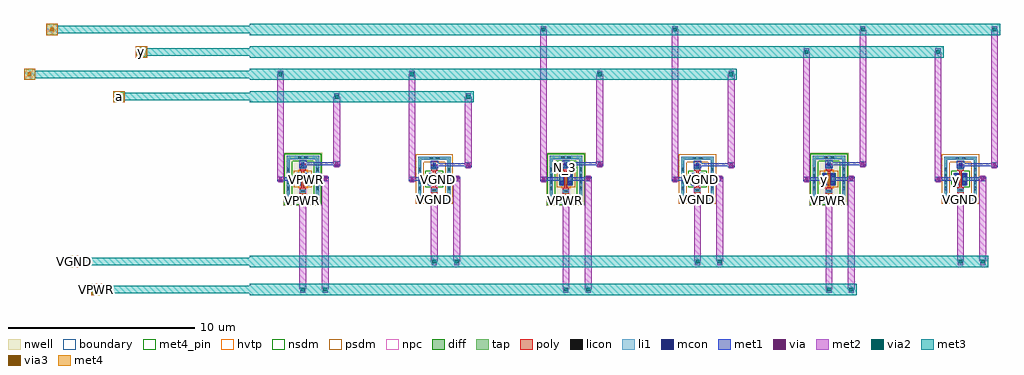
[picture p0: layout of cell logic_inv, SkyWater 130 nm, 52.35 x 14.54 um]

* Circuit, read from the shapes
.subckt logic_inv N_3 OUT_y_0__N VGND VPWR a y
XM1 VGND a N_3 VGND sky130_fd_pr__nfet_01v8 w=0.65 l=0.15
XM2 VGND N_3 OUT_y_0__N VGND sky130_fd_pr__nfet_01v8 w=0.65 l=0.15
XM3 VGND OUT_y_0__N y VGND sky130_fd_pr__nfet_01v8 w=0.65 l=0.15
XM4 VPWR a N_3 VPWR sky130_fd_pr__pfet_01v8_hvt w=0.65 l=0.15
XM5 VPWR N_3 OUT_y_0__N VPWR sky130_fd_pr__pfet_01v8_hvt w=0.65 l=0.15
XM6 VPWR OUT_y_0__N y VPWR sky130_fd_pr__pfet_01v8_hvt w=0.65 l=0.15
.ends

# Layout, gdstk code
import gdstk
lib = gdstk.Library(unit=1e-6, precision=1e-09)
def R(c, l, rs):  # rectangles x0, y0, x1, y1
    for r in rs: c.add(gdstk.rectangle(r[:2], r[2:], *l))
def A(c, l, x, y, w, h, nx, ny, dx, dy):  # array of equal rectangles
    R(c, l, [(x+i*dx, y+j*dy, x+i*dx+w, y+j*dy+h) for i in range(nx) for j in range(ny)])
def P(c, l, *ps):  # polygons
    for p in ps: c.add(gdstk.Polygon(p, *l))
nwell = (64, 20)
diff = (65, 20)
tap = (65, 44)
poly = (66, 20)
licon = (66, 44)
li1 = (67, 20)
mcon = (67, 44)
met1 = (68, 20)
via = (68, 44)
met2 = (69, 20)
via2 = (69, 44)
met3 = (70, 20)
via3 = (70, 44)
met4_pin = (71, 16)
met4 = (71, 20)
hvtp = (78, 44)
nsdm = (93, 44)
psdm = (94, 20)
npc = (95, 20)
boundary = (235, 4)

logic_inv = lib.new_cell('logic_inv')
A(logic_inv, nwell, 24.2, 14.8, 2.11, 2.84, 3, 1, 14.11, 0)
A(logic_inv, diff, 24.89, 15.895, 0.73, 0.65, 6, 1, 7.055, 0)
A(logic_inv, tap, 24.38, 14.98, 1.75, 0.17, 3, 2, 14.11, 2.31)
A(logic_inv, tap, 31.435, 15.025, 1.75, 0.17, 3, 2, 14.11, 2.22)
R(logic_inv, tap, [(24.38,15.15,24.55,17.29), (25.96,15.15,26.13,17.29), (38.49,15.15,38.66,17.29), (40.07,15.15,40.24,17.29), (52.6,15.15,52.77,17.29), (54.18,15.15,54.35,17.29), (31.435,15.195,31.605,17.245), (33.015,15.195,33.185,17.245), (45.545,15.195,45.715,17.245), (47.125,15.195,47.295,17.245), (59.655,15.195,59.825,17.245), (61.235,15.195,61.405,17.245)])
A(logic_inv, poly, 25.09, 15.41, 0.33, 0.33, 3, 2, 14.11, 1.29)
A(logic_inv, poly, 32.145, 15.455, 0.33, 0.33, 3, 2, 14.11, 1.2)
A(logic_inv, poly, 25.18, 15.74, 0.15, 0.96, 3, 1, 14.11, 0)
A(logic_inv, poly, 32.235, 15.785, 0.15, 0.87, 3, 1, 14.11, 0)
A(logic_inv, licon, 25.17, 15.49, 0.17, 0.17, 3, 2, 14.11, 1.29)
A(logic_inv, licon, 32.225, 15.535, 0.17, 0.17, 3, 2, 14.11, 1.2)
A(logic_inv, licon, 24.38, 15.625, 0.17, 0.17, 1, 4, 0, 0.34)
A(logic_inv, licon, 25.96, 15.625, 0.17, 0.17, 1, 4, 0, 0.34)
A(logic_inv, licon, 31.435, 15.625, 0.17, 0.17, 1, 4, 0, 0.34)
A(logic_inv, licon, 33.015, 15.625, 0.17, 0.17, 1, 4, 0, 0.34)
A(logic_inv, licon, 38.49, 15.625, 0.17, 0.17, 1, 4, 0, 0.34)
A(logic_inv, licon, 40.07, 15.625, 0.17, 0.17, 1, 4, 0, 0.34)
A(logic_inv, licon, 45.545, 15.625, 0.17, 0.17, 1, 4, 0, 0.34)
A(logic_inv, licon, 47.125, 15.625, 0.17, 0.17, 1, 4, 0, 0.34)
A(logic_inv, licon, 52.6, 15.625, 0.17, 0.17, 1, 4, 0, 0.34)
A(logic_inv, licon, 54.18, 15.625, 0.17, 0.17, 1, 4, 0, 0.34)
A(logic_inv, licon, 59.655, 15.625, 0.17, 0.17, 1, 4, 0, 0.34)
A(logic_inv, licon, 61.235, 15.625, 0.17, 0.17, 1, 4, 0, 0.34)
R(logic_inv, licon, [(25,14.98,25.17,15.15), (25.34,14.98,25.51,15.15), (39.11,14.98,39.28,15.15), (39.45,14.98,39.62,15.15), (53.22,14.98,53.39,15.15), (53.56,14.98,53.73,15.15), (32.055,15.025,32.225,15.195), (32.395,15.025,32.565,15.195), (46.165,15.025,46.335,15.195), (46.505,15.025,46.675,15.195), (60.275,15.025,60.445,15.195), (60.615,15.025,60.785,15.195), (24.95,15.965,25.12,16.135), (25.39,15.965,25.56,16.135), (32.005,15.965,32.175,16.135), (32.445,15.965,32.615,16.135), (39.06,15.965,39.23,16.135), (39.5,15.965,39.67,16.135), (46.115,15.965,46.285,16.135), (46.555,15.965,46.725,16.135), (53.17,15.965,53.34,16.135), (53.61,15.965,53.78,16.135), (60.225,15.965,60.395,16.135), (60.665,15.965,60.835,16.135), (24.95,16.305,25.12,16.475), (25.39,16.305,25.56,16.475), (32.005,16.305,32.175,16.475), (32.445,16.305,32.615,16.475), (39.06,16.305,39.23,16.475), (39.5,16.305,39.67,16.475), (46.115,16.305,46.285,16.475), (46.555,16.305,46.725,16.475), (53.17,16.305,53.34,16.475), (53.61,16.305,53.78,16.475), (60.225,16.305,60.395,16.475), (60.665,16.305,60.835,16.475), (32.055,17.245,32.225,17.415), (32.395,17.245,32.565,17.415), (46.165,17.245,46.335,17.415), (46.505,17.245,46.675,17.415), (60.275,17.245,60.445,17.415), (60.615,17.245,60.785,17.415), (25,17.29,25.17,17.46), (25.34,17.29,25.51,17.46), (39.11,17.29,39.28,17.46), (39.45,17.29,39.62,17.46), (53.22,17.29,53.39,17.46), (53.56,17.29,53.73,17.46)])
A(logic_inv, li1, 24.38, 14.98, 1.75, 0.17, 3, 2, 14.11, 2.31)
A(logic_inv, li1, 31.435, 15.025, 1.75, 0.17, 3, 2, 14.11, 2.22)
A(logic_inv, li1, 25.09, 15.49, 0.33, 0.17, 3, 2, 14.11, 1.29)
A(logic_inv, li1, 32.145, 15.535, 0.33, 0.17, 3, 2, 14.11, 1.2)
A(logic_inv, li1, 32.225, 16.735, 0.17, 0.34, 3, 1, 14.11, 0)
A(logic_inv, li1, 25.17, 16.78, 0.17, 0.34, 3, 1, 14.11, 0)
R(logic_inv, li1, [(24.38,15.15,24.55,17.29), (25.96,15.15,26.13,17.29), (38.49,15.15,38.66,17.29), (40.07,15.15,40.24,17.29), (52.6,15.15,52.77,17.29), (54.18,15.15,54.35,17.29), (31.435,15.195,31.605,17.245), (33.015,15.195,33.185,17.245), (45.545,15.195,45.715,17.245), (47.125,15.195,47.295,17.245), (59.655,15.195,59.825,17.245), (61.235,15.195,61.405,17.245), (24.95,15.875,25.12,16.565), (25.39,15.875,25.56,16.565), (32.005,15.875,32.175,16.565), (32.445,15.875,32.615,16.565), (39.06,15.875,39.23,16.565), (39.5,15.875,39.67,16.565), (46.115,15.875,46.285,16.565), (46.555,15.875,46.725,16.565), (53.17,15.875,53.34,16.565), (53.61,15.875,53.78,16.565), (60.225,15.875,60.395,16.565), (60.665,15.875,60.835,16.565)])
A(logic_inv, mcon, 25.17, 14.98, 0.17, 0.17, 3, 2, 14.11, 1.97)
A(logic_inv, mcon, 32.225, 15.025, 0.17, 0.17, 3, 2, 14.11, 1.88)
R(logic_inv, mcon, [(24.95,15.955,25.12,16.125), (25.39,15.955,25.56,16.125), (32.005,15.955,32.175,16.125), (32.445,15.955,32.615,16.125), (39.06,15.955,39.23,16.125), (39.5,15.955,39.67,16.125), (46.115,15.955,46.285,16.125), (46.555,15.955,46.725,16.125), (53.17,15.955,53.34,16.125), (53.61,15.955,53.78,16.125), (60.225,15.955,60.395,16.125), (60.665,15.955,60.835,16.125), (24.95,16.315,25.12,16.485), (25.39,16.315,25.56,16.485), (32.005,16.315,32.175,16.485), (32.445,16.315,32.615,16.485), (39.06,16.315,39.23,16.485), (39.5,16.315,39.67,16.485), (46.115,16.315,46.285,16.485), (46.555,16.315,46.725,16.485), (53.17,16.315,53.34,16.485), (53.61,16.315,53.78,16.485), (60.225,16.315,60.395,16.485), (60.665,16.315,60.835,16.485)])
A(logic_inv, met1, 25.055, 14.865, 0.4, 0.4, 3, 2, 14.11, 1.97)
A(logic_inv, met1, 32.11, 14.91, 0.4, 0.4, 3, 2, 14.11, 1.88)
A(logic_inv, met1, 25.075, 14.935, 0.36, 0.26, 3, 1, 14.11, 0)
A(logic_inv, met1, 32.13, 14.98, 0.36, 0.26, 3, 1, 14.11, 0)
A(logic_inv, met1, 33.95, 16.86, 0.36, 0.26, 3, 1, 14.11, 0)
A(logic_inv, met1, 26.895, 16.905, 0.36, 0.26, 3, 1, 14.11, 0)
A(logic_inv, met1, 32.31, 16.905, 1.82, 0.17, 3, 1, 14.11, 0)
A(logic_inv, met1, 25.255, 16.95, 1.82, 0.17, 3, 1, 14.11, 0)
R(logic_inv, met1, [(24.92,15.895,25.15,16.545), (25.36,15.895,25.59,16.545), (31.975,15.895,32.205,16.545), (32.415,15.895,32.645,16.545), (39.03,15.895,39.26,16.545), (39.47,15.895,39.7,16.545), (46.085,15.895,46.315,16.545), (46.525,15.895,46.755,16.545), (53.14,15.895,53.37,16.545), (53.58,15.895,53.81,16.545), (60.195,15.895,60.425,16.545), (60.635,15.895,60.865,16.545), (23.875,16.09,24.235,16.35), (26.275,16.09,26.635,16.35), (30.93,16.09,31.29,16.35), (33.33,16.09,33.69,16.35), (37.985,16.09,38.345,16.35), (40.385,16.09,40.745,16.35), (45.04,16.09,45.4,16.35), (47.44,16.09,47.8,16.35), (52.095,16.09,52.455,16.35), (54.495,16.09,54.855,16.35), (59.15,16.09,59.51,16.35), (61.55,16.09,61.91,16.35), (24.055,16.135,25.035,16.305), (25.475,16.135,26.455,16.305), (31.11,16.135,32.09,16.305), (32.53,16.135,33.51,16.305), (38.165,16.135,39.145,16.305), (39.585,16.135,40.565,16.305), (45.22,16.135,46.2,16.305), (46.64,16.135,47.62,16.305), (52.275,16.135,53.255,16.305), (53.695,16.135,54.675,16.305), (59.33,16.135,60.31,16.305), (60.75,16.135,61.73,16.305)])
P(logic_inv, met1, [(25.255,14.98),(25.255,15.15),(25.255,15.15),(25.255,14.98)],
  [(32.31,15.025),(32.31,15.195),(32.31,15.195),(32.31,15.025)],
  [(60.53,15.025),(60.53,15.195),(60.53,15.195),(60.53,15.025)],
  [(39.365,14.98),(39.365,15.15),(39.365,15.15),(39.365,14.98)],
  [(46.42,15.025),(46.42,15.195),(46.42,15.195),(46.42,15.025)],
  [(53.475,14.98),(53.475,15.15),(53.475,15.15),(53.475,14.98)])
A(logic_inv, via, 25.18, 14.99, 0.15, 0.15, 3, 1, 14.11, 0)
A(logic_inv, via, 32.235, 15.035, 0.15, 0.15, 3, 1, 14.11, 0)
A(logic_inv, via, 34.055, 16.915, 0.15, 0.15, 3, 1, 14.11, 0)
A(logic_inv, via, 27, 16.96, 0.15, 0.15, 3, 1, 14.11, 0)
R(logic_inv, via, [(23.98,16.145,24.13,16.295), (26.38,16.145,26.53,16.295), (31.035,16.145,31.185,16.295), (33.435,16.145,33.585,16.295), (38.09,16.145,38.24,16.295), (40.49,16.145,40.64,16.295), (45.145,16.145,45.295,16.295), (47.545,16.145,47.695,16.295), (52.2,16.145,52.35,16.295), (54.6,16.145,54.75,16.295), (59.255,16.145,59.405,16.295), (61.655,16.145,61.805,16.295)])
A(logic_inv, met2, 25.075, 10.3, 0.36, 4.765, 3, 1, 14.11, 0)
A(logic_inv, met2, 26.275, 10.3, 0.36, 5.92, 3, 1, 14.11, 0)
A(logic_inv, met2, 32.13, 11.8, 0.36, 3.31, 3, 1, 14.11, 0)
A(logic_inv, met2, 33.33, 11.8, 0.36, 4.42, 3, 1, 14.11, 0)
A(logic_inv, met2, 25.125, 14.885, 0.26, 0.36, 3, 1, 14.11, 0)
A(logic_inv, met2, 32.18, 14.93, 0.26, 0.36, 3, 1, 14.11, 0)
A(logic_inv, met2, 34, 16.81, 0.26, 0.36, 3, 1, 14.11, 0)
A(logic_inv, met2, 26.945, 16.855, 0.26, 0.36, 3, 1, 14.11, 0)
R(logic_inv, met2, [(25.115,10.11,25.395,10.49), (26.315,10.11,26.595,10.49), (39.225,10.11,39.505,10.49), (40.425,10.11,40.705,10.49), (53.335,10.11,53.615,10.49), (54.535,10.11,54.815,10.49), (32.17,11.61,32.45,11.99), (33.37,11.61,33.65,11.99), (46.28,11.61,46.56,11.99), (47.48,11.61,47.76,11.99), (60.39,11.61,60.67,11.99), (61.59,11.61,61.87,11.99), (23.925,16.04,24.185,16.4), (26.325,16.04,26.585,16.4), (30.98,16.04,31.24,16.4), (33.38,16.04,33.64,16.4), (38.035,16.04,38.295,16.4), (40.435,16.04,40.695,16.4), (45.09,16.04,45.35,16.4), (47.49,16.04,47.75,16.4), (52.145,16.04,52.405,16.4), (54.545,16.04,54.805,16.4), (59.2,16.04,59.46,16.4), (61.6,16.04,61.86,16.4), (23.875,16.22,24.235,21.84), (30.93,16.22,31.29,21.84), (37.985,16.22,38.345,24.24), (45.04,16.22,45.4,24.24), (52.095,16.22,52.455,23.04), (59.15,16.22,59.51,23.04), (33.95,16.99,34.31,20.64), (48.06,16.99,48.42,21.84), (62.17,16.99,62.53,24.24), (26.895,17.035,27.255,20.64), (41.005,17.035,41.365,21.84), (55.115,17.035,55.475,24.24), (26.935,20.45,27.215,20.83), (33.99,20.45,34.27,20.83), (23.915,21.65,24.195,22.03), (30.97,21.65,31.25,22.03), (41.045,21.65,41.325,22.03), (48.1,21.65,48.38,22.03), (52.135,22.85,52.415,23.23), (59.19,22.85,59.47,23.23), (38.025,24.05,38.305,24.43), (45.08,24.05,45.36,24.43), (55.155,24.05,55.435,24.43), (62.21,24.05,62.49,24.43)])
R(logic_inv, via2, [(25.155,10.2,25.355,10.4), (26.355,10.2,26.555,10.4), (39.265,10.2,39.465,10.4), (40.465,10.2,40.665,10.4), (53.375,10.2,53.575,10.4), (54.575,10.2,54.775,10.4), (32.21,11.7,32.41,11.9), (33.41,11.7,33.61,11.9), (46.32,11.7,46.52,11.9), (47.52,11.7,47.72,11.9), (60.43,11.7,60.63,11.9), (61.63,11.7,61.83,11.9), (26.975,20.54,27.175,20.74), (34.03,20.54,34.23,20.74), (23.955,21.74,24.155,21.94), (31.01,21.74,31.21,21.94), (41.085,21.74,41.285,21.94), (48.14,21.74,48.34,21.94), (52.175,22.94,52.375,23.14), (59.23,22.94,59.43,23.14), (38.065,24.14,38.265,24.34), (45.12,24.14,45.32,24.34), (55.195,24.14,55.395,24.34), (62.25,24.14,62.45,24.34)])
R(logic_inv, met3, [(13.9,10,14.5,10.6), (22.4,10,54.975,10.6), (25.005,10.05,25.505,10.55), (26.205,10.05,26.705,10.55), (39.115,10.05,39.615,10.55), (40.315,10.05,40.815,10.55), (53.225,10.05,53.725,10.55), (54.425,10.05,54.925,10.55), (12.7,11.5,13.3,12.1), (22.4,11.5,62.03,12.1), (32.06,11.55,32.56,12.05), (33.26,11.55,33.76,12.05), (46.17,11.55,46.67,12.05), (47.37,11.55,47.87,12.05), (60.28,11.55,60.78,12.05), (61.48,11.55,61.98,12.05), (15.1,20.34,15.7,20.94), (22.4,20.34,34.43,20.94), (26.825,20.39,27.325,20.89), (33.88,20.39,34.38,20.89), (10.3,21.54,10.9,22.14), (22.4,21.54,48.54,22.14), (23.805,21.59,24.305,22.09), (30.86,21.59,31.36,22.09), (40.935,21.59,41.435,22.09), (47.99,21.59,48.49,22.09), (16.3,22.74,16.9,23.34), (22.4,22.74,59.63,23.34), (52.025,22.79,52.525,23.29), (59.08,22.79,59.58,23.29), (11.5,23.94,12.1,24.54), (22.4,23.94,62.65,24.54), (37.915,23.99,38.415,24.49), (44.97,23.99,45.47,24.49), (55.045,23.99,55.545,24.49), (62.1,23.99,62.6,24.49)])
R(logic_inv, via3, [(14.1,10.2,14.3,10.4), (12.9,11.7,13.1,11.9), (15.3,20.54,15.5,20.74), (10.5,21.74,10.7,21.94), (16.5,22.94,16.7,23.14), (11.7,24.14,11.9,24.34)])
R(logic_inv, met4_pin, [(13.95,10.05,14.45,10.55), (12.75,11.55,13.25,12.05), (15.15,20.39,15.65,20.89), (16.35,22.79,16.85,23.29)])
R(logic_inv, met4, [(13.9,10,14.5,10.6), (13.95,10,14.45,10.6), (12.7,11.5,13.3,12.1), (12.75,11.5,13.25,12.1), (15.1,20.34,15.7,20.94), (15.15,20.34,15.65,20.94), (10.3,21.54,10.9,22.14), (10.35,21.54,10.85,22.14), (16.3,22.74,16.9,23.34), (16.35,22.74,16.85,23.34), (11.5,23.94,12.1,24.54), (11.55,23.94,12.05,24.54)])
A(logic_inv, hvtp, 25, 15.715, 0.51, 1.01, 3, 1, 14.11, 0)
A(logic_inv, nsdm, 24.255, 14.855, 2, 0.42, 3, 2, 14.11, 2.31)
A(logic_inv, nsdm, 31.82, 15.77, 0.98, 0.9, 3, 1, 14.11, 0)
R(logic_inv, nsdm, [(24.255,15.275,24.675,17.165), (25.835,15.275,26.255,17.165), (38.365,15.275,38.785,17.165), (39.945,15.275,40.365,17.165), (52.475,15.275,52.895,17.165), (54.055,15.275,54.475,17.165)])
A(logic_inv, psdm, 31.31, 14.9, 2, 0.42, 3, 2, 14.11, 2.22)
A(logic_inv, psdm, 24.765, 15.77, 0.98, 0.9, 3, 1, 14.11, 0)
R(logic_inv, psdm, [(31.31,15.32,31.73,17.12), (32.89,15.32,33.31,17.12), (45.42,15.32,45.84,17.12), (47,15.32,47.42,17.12), (59.53,15.32,59.95,17.12), (61.11,15.32,61.53,17.12)])
A(logic_inv, npc, 25.07, 15.39, 0.37, 0.37, 3, 2, 14.11, 1.29)
A(logic_inv, npc, 32.125, 15.435, 0.37, 0.37, 3, 2, 14.11, 1.2)
A(logic_inv, boundary, 24.465, 15.065, 1.58, 2.31, 3, 1, 14.11, 0)
A(logic_inv, boundary, 31.52, 15.11, 1.58, 2.22, 3, 1, 14.11, 0)
logic_inv.add(gdstk.FlexPath([(10.6,21.84),(22.4,21.84)], 0.4, ends="flush", simple_path=True, layer=70, datatype=20))  # met3
logic_inv.add(gdstk.FlexPath([(11.8,24.24),(22.4,24.24)], 0.4, ends="flush", simple_path=True, layer=70, datatype=20))  # met3
logic_inv.add(gdstk.FlexPath([(13,11.8),(22.4,11.8)], 0.4, ends="flush", simple_path=True, layer=70, datatype=20))  # met3
logic_inv.add(gdstk.FlexPath([(15.4,20.64),(22.4,20.64)], 0.4, ends="flush", simple_path=True, layer=70, datatype=20))  # met3
logic_inv.add(gdstk.FlexPath([(16.6,23.04),(22.4,23.04)], 0.4, ends="flush", simple_path=True, layer=70, datatype=20))  # met3
logic_inv.add(gdstk.FlexPath([(14.2,10.3),(22.4,10.3)], 0.4, ends="flush", simple_path=True, layer=70, datatype=20))  # met3
logic_inv.add(gdstk.Label('VPWR', (25.255,15.065), layer=67, texttype=5))
logic_inv.add(gdstk.Label('y', (60.31,16.22), layer=67, texttype=5))
logic_inv.add(gdstk.Label('N_3', (39.365,16.865), layer=67, texttype=5))
logic_inv.add(gdstk.Label('VGND', (46.42,15.11), layer=67, texttype=5))
logic_inv.add(gdstk.Label('VGND', (32.53,16.22), layer=67, texttype=5))
logic_inv.add(gdstk.Label('VPWR', (39.585,16.22), layer=67, texttype=5))
logic_inv.add(gdstk.Label('y', (53.255,16.22), layer=67, texttype=5))
logic_inv.add(gdstk.Label('VGND', (60.75,16.22), layer=67, texttype=5))
logic_inv.add(gdstk.Label('VGND', (46.64,16.22), layer=67, texttype=5))
logic_inv.add(gdstk.Label('a', (32.31,16.82), layer=67, texttype=5))
logic_inv.add(gdstk.Label('VGND', (60.53,15.11), layer=67, texttype=5))
logic_inv.add(gdstk.Label('N_3', (32.09,16.22), layer=67, texttype=5))
logic_inv.add(gdstk.Label('OUT_y_0__N', (39.145,16.22), layer=67, texttype=5))
logic_inv.add(gdstk.Label('VGND', (32.31,15.11), layer=67, texttype=5))
logic_inv.add(gdstk.Label('VPWR', (25.475,16.22), layer=67, texttype=5))
logic_inv.add(gdstk.Label('N_3', (46.42,16.82), layer=67, texttype=5))
logic_inv.add(gdstk.Label('VPWR', (53.695,16.22), layer=67, texttype=5))
logic_inv.add(gdstk.Label('OUT_y_0__N', (53.475,16.865), layer=67, texttype=5))
logic_inv.add(gdstk.Label('a', (25.255,16.865), layer=67, texttype=5))
logic_inv.add(gdstk.Label('VPWR', (39.365,15.065), layer=67, texttype=5))
logic_inv.add(gdstk.Label('OUT_y_0__N', (46.2,16.22), layer=67, texttype=5))
logic_inv.add(gdstk.Label('N_3', (25.035,16.22), layer=67, texttype=5))
logic_inv.add(gdstk.Label('OUT_y_0__N', (60.53,16.82), layer=67, texttype=5))
logic_inv.add(gdstk.Label('VPWR', (53.475,15.065), layer=67, texttype=5))
logic_inv.add(gdstk.Label('VGND', (13,11.8), layer=71, texttype=5))
logic_inv.add(gdstk.Label('y', (16.6,23.04), layer=71, texttype=5))
logic_inv.add(gdstk.Label('VPWR', (14.2,10.3), layer=71, texttype=5))
logic_inv.add(gdstk.Label('a', (15.4,20.64), layer=71, texttype=5))

lib.write_gds('logic_inv.gds')
